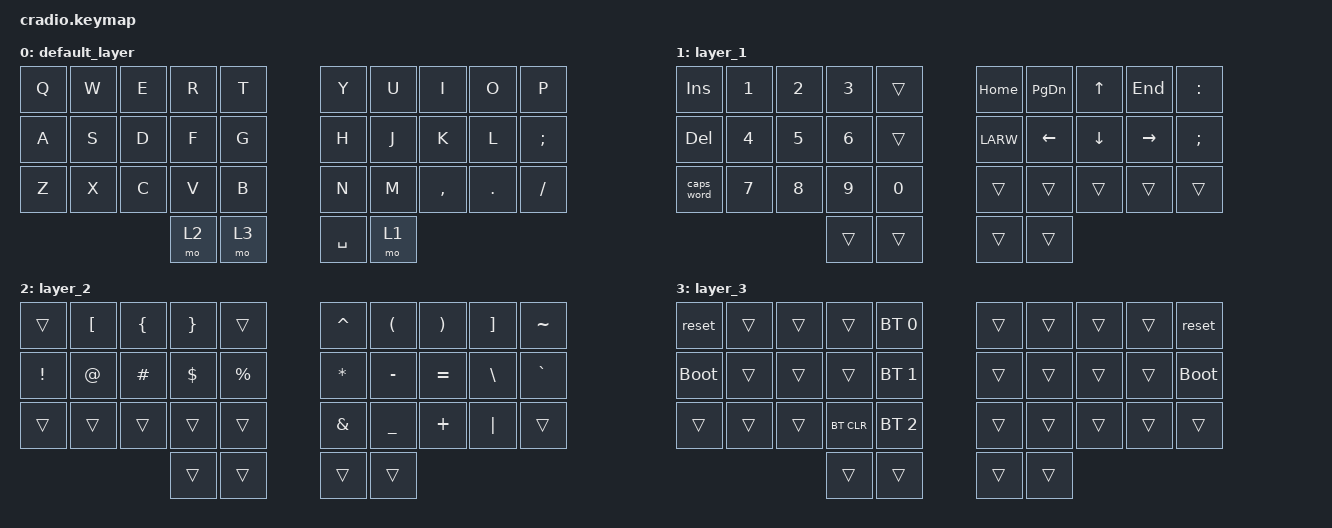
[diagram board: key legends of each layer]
// Copyright (c) 2022 The ZMK Contributors
// SPDX-License-Identifier: MIT

#include <behaviors.dtsi>
#include <dt-bindings/zmk/keys.h>
#include <dt-bindings/zmk/bt.h>

// Home row mods macro
//#define HRML(k1,k2,k3,k4) &ht LSHFT k1  &ht LALT k2  &ht LCTRL k3  &ht LGUI k4
//#define HRMR(k1,k2,k3,k4) &ht RGUI k1  &ht RCTRL k2  &ht RALT k3  &ht RSHFT k4

/ {
    behaviors {
    };

    combos {
        compatible = "zmk,combos";

U_I {
    bindings = <&kp DOUBLE_QUOTES>;
    key-positions = <1 2>;
};

I_O {
    bindings = <&kp SINGLE_QUOTE>;
    key-positions = <3 4>;
};

O_P {
    bindings = <&kp QUESTION>;
    key-positions = <5 6>;
};

J_K {
    bindings = <&kp BACKSPACE>;
    key-positions = <7 8>;
};

K_L {
    bindings = <&kp LEFT_CONTROL>;
    key-positions = <9 10>;
};

L_Semi {
    bindings = <&kp BACKSLASH>;
    key-positions = <11 12>;
};

M_Coma {
    bindings = <&kp RIGHT_PARENTHESIS>;
    key-positions = <13 14>;
};

Coma_Dot {
    bindings = <&kp RIGHT_BRACKET>;
    key-positions = <15 16>;
};

Dot_Backslash {
    bindings = <&kp RIGHT_BRACE>;
    key-positions = <17 18>;
};

Q_W {
    bindings = <&kp EXCLAMATION>;
    key-positions = <19 20>;
};

W_E {
    bindings = <&kp PERCENT>;
    key-positions = <21 22>;
};

E_R {
    bindings = <&kp UNDER>;
    key-positions = <23 24>;
};

A_S {
    bindings = <&kp AMPS>;
    key-positions = <25 26>;
};

S_D {
    bindings = <&kp ESC>;
    key-positions = <27 28>;
};

D_F {
    bindings = <&kp COLON>;
    key-positions = <29 30>;
};

Z_X {
    bindings = <&kp LEFT_BRACE>;
    key-positions = <31 32>;
};

X_C {
    bindings = <&kp LEFT_BRACKET>;
    key-positions = <33 34>;
};

C_V {
    bindings = <&kp LEFT_PARENTHESIS>;
    key-positions = <31 12>;
};

U_I_O {
    bindings = <&kp CARET>;
    key-positions = <2 3>;
};

I_O_P {
    bindings = <&kp TILDE>;
    key-positions = <4 5>;
};

W_E_R {
    bindings = <&kp DOLLAR>;
    key-positions = <6 7>;
};

Q_W_E {
    bindings = <&kp GRAVE>;
    key-positions = <8 9>;
};

M_Coma_Dot {
    bindings = <&kp ASTRK>;
    key-positions = <10 11>;
};

Coma_Dot_Slash {
    bindings = <&kp SLASH>;
    key-positions = <12 13>;
};

Z_X_C {
    bindings = <&kp PIPE>;
    key-positions = <14 15>;
};

R_T {
    bindings = <&kp EQUAL>;
    key-positions = <16 17>;
};

F_G {
    bindings = <&kp HASH>;
    key-positions = <18 19>;
};

V_B {
    bindings = <&kp LESS_THAN>;
    key-positions = <20 21>;
};

Y_U {
    bindings = <&kp PLUS>;
    key-positions = <22 23>;
};

H_J {
    bindings = <&kp MINUS>;
    key-positions = <24 25>;
};

N_M {
    bindings = <&kp GREATER_THAN>;
    key-positions = <26 27>;
};

S_D_F {
    bindings = <&kp HOME>;
    key-positions = <28 29>;
};

J_K_L {
    bindings = <&kp END>;
    key-positions = <30 31>;
};

A_S_D {
    bindings = <&kp CAPSLOCK>;
    key-positions = <32 33>;
};

    };

    keymap {
        compatible = "zmk,keymap";

        default_layer {
            bindings = <
  &kp Q  &kp W  &kp E  &kp R  &kp T                    &kp Y  &kp U      &kp I    &kp O     &kp P
  &kp A  &kp S  &kp D  &kp F  &kp G                    &kp H  &kp J      &kp K    &kp L  &kp SEMI
  &kp Z  &kp X  &kp C  &kp V  &kp B                    &kp N  &kp M  &kp COMMA  &kp DOT  &kp FSLH
                              &mo 2  &mo 3  &kp SPACE  &mo 1
            >;
        };

        layer_1 {
            bindings = <
     &kp INS  &kp N1  &kp N2  &kp N3  &trans                  &kp HOME  &kp PG_DN    &kp UP    &kp END  &kp COLON
     &kp DEL  &kp N4  &kp N5  &kp N6  &trans                  &kp LARW   &kp LEFT  &kp DOWN  &kp RIGHT   &kp SEMI
  &caps_word  &kp N7  &kp N8  &kp N9  &kp N0                    &trans     &trans    &trans     &trans     &trans
                                      &trans  &trans  &trans    &trans
            >;
        };

        layer_2 {
            bindings = <
    &trans  &kp LBKT  &kp LBRC  &kp RBRC     &trans                  &kp CARET   &kp LPAR   &kp RPAR  &kp RBKT  &kp TILDE
  &kp EXCL    &kp AT  &kp HASH  &kp DLLR  &kp PRCNT                  &kp ASTRK  &kp MINUS  &kp EQUAL  &kp BSLH  &kp GRAVE
    &trans    &trans    &trans    &trans     &trans                   &kp AMPS  &kp UNDER   &kp PLUS  &kp PIPE     &trans
                                             &trans  &trans  &trans     &trans
            >;
        };

        layer_3 {
            bindings = <
       &reset  &trans  &trans      &trans  &bt BT_SEL 0                  &trans  &trans  &trans  &trans       &reset
  &bootloader  &trans  &trans      &trans  &bt BT_SEL 1                  &trans  &trans  &trans  &trans  &bootloader
       &trans  &trans  &trans  &bt BT_CLR  &bt BT_SEL 2                  &trans  &trans  &trans  &trans       &trans
                                                 &trans  &trans  &trans  &trans
            >;
        };
    };
};
